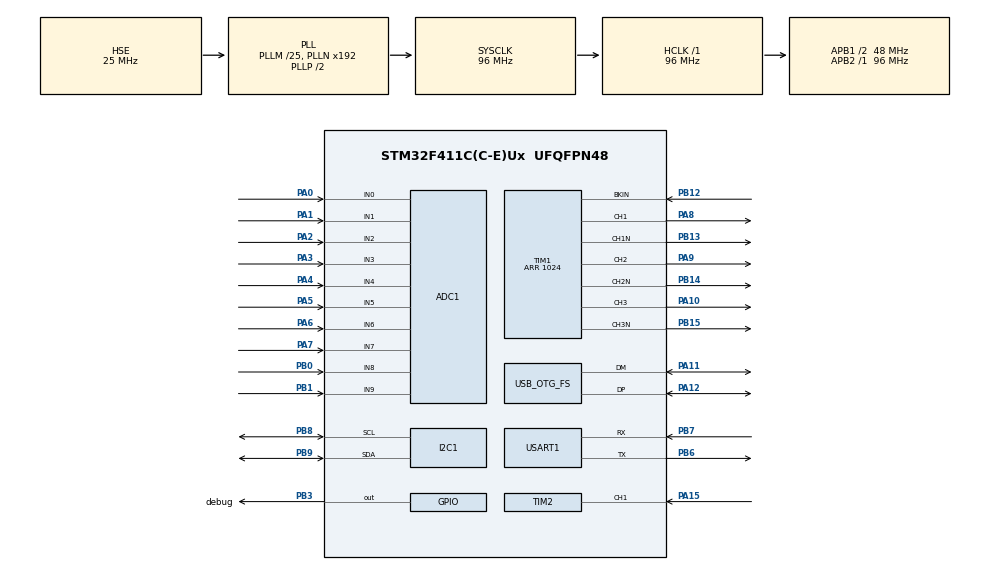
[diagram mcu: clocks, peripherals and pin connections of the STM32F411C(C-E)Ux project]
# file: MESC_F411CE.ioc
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ADC1.Channel-0\#ChannelRegularConversion=ADC_CHANNEL_5
ADC1.Channel-1\#ChannelRegularConversion=ADC_CHANNEL_6
ADC1.Channel-2\#ChannelRegularConversion=ADC_CHANNEL_8
ADC1.Channel-3\#ChannelRegularConversion=ADC_CHANNEL_0
ADC1.Channel-4\#ChannelRegularConversion=ADC_CHANNEL_8
ADC1.Channel-5\#ChannelRegularConversion=ADC_CHANNEL_9
ADC1.Channel-6\#ChannelInjectedConversion=ADC_CHANNEL_2
ADC1.Channel-7\#ChannelInjectedConversion=ADC_CHANNEL_3
ADC1.Channel-8\#ChannelInjectedConversion=ADC_CHANNEL_4
ADC1.Channel-9\#ChannelInjectedConversion=ADC_CHANNEL_1
ADC1.DMAContinuousRequests=ENABLE
ADC1.EnableAnalogWatchDog=true
ADC1.ExternalTrigInjecConv=ADC_EXTERNALTRIGINJECCONV_T1_TRGO
ADC1.ExternalTrigInjecConvEdge=ADC_EXTERNALTRIGINJECCONVEDGE_RISING
ADC1.HighThreshold=4048
ADC1.ITMode=ENABLE
ADC1.InjNumberOfConversion=4
ADC1.InjectedOffset-6\#ChannelInjectedConversion=0
ADC1.InjectedOffset-7\#ChannelInjectedConversion=0
ADC1.InjectedOffset-8\#ChannelInjectedConversion=0
ADC1.InjectedOffset-9\#ChannelInjectedConversion=0
ADC1.InjectedRank-6\#ChannelInjectedConversion=1
ADC1.InjectedRank-7\#ChannelInjectedConversion=2
ADC1.InjectedRank-8\#ChannelInjectedConversion=3
ADC1.InjectedRank-9\#ChannelInjectedConversion=4
ADC1.LowThreshold=48
ADC1.NbrOfConversion=6
ADC1.NbrOfConversionFlag=1
ADC1.Rank-0\#ChannelRegularConversion=1
ADC1.Rank-1\#ChannelRegularConversion=2
ADC1.Rank-2\#ChannelRegularConversion=3
ADC1.Rank-3\#ChannelRegularConversion=4
ADC1.Rank-4\#ChannelRegularConversion=5
ADC1.Rank-5\#ChannelRegularConversion=6
ADC1.SamplingTime-0\#ChannelRegularConversion=ADC_SAMPLETIME_15CYCLES
ADC1.SamplingTime-1\#ChannelRegularConversion=ADC_SAMPLETIME_15CYCLES
ADC1.SamplingTime-2\#ChannelRegularConversion=ADC_SAMPLETIME_15CYCLES
ADC1.SamplingTime-3\#ChannelRegularConversion=ADC_SAMPLETIME_15CYCLES
ADC1.SamplingTime-4\#ChannelRegularConversion=ADC_SAMPLETIME_15CYCLES
ADC1.SamplingTime-5\#ChannelRegularConversion=ADC_SAMPLETIME_15CYCLES
ADC1.SamplingTime-6\#ChannelInjectedConversion=ADC_SAMPLETIME_3CYCLES
ADC1.SamplingTime-7\#ChannelInjectedConversion=ADC_SAMPLETIME_3CYCLES
ADC1.SamplingTime-8\#ChannelInjectedConversion=ADC_SAMPLETIME_3CYCLES
ADC1.SamplingTime-9\#ChannelInjectedConversion=ADC_SAMPLETIME_15CYCLES
ADC1.ScanConvMode=ENABLE
ADC1.WatchdogMode=ADC_ANALOGWATCHDOG_ALL_INJEC
ADC1.master=1
Dma.ADC1.0.Direction=DMA_PERIPH_TO_MEMORY
Dma.ADC1.0.FIFOMode=DMA_FIFOMODE_DISABLE
Dma.ADC1.0.Instance=DMA2_Stream0
Dma.ADC1.0.MemDataAlignment=DMA_MDATAALIGN_WORD
Dma.ADC1.0.MemInc=DMA_MINC_ENABLE
Dma.ADC1.0.Mode=DMA_CIRCULAR
Dma.ADC1.0.PeriphDataAlignment=DMA_PDATAALIGN_WORD
Dma.ADC1.0.PeriphInc=DMA_PINC_DISABLE
Dma.ADC1.0.Priority=DMA_PRIORITY_LOW
Dma.Request0=ADC1
Dma.Request1=USART1_RX
Dma.Request2=USART1_TX
Dma.USART1_RX.1.Direction=DMA_PERIPH_TO_MEMORY
Dma.USART1_RX.1.FIFOMode=DMA_FIFOMODE_DISABLE
Dma.USART1_RX.1.Instance=DMA2_Stream2
Dma.USART1_RX.1.MemDataAlignment=DMA_MDATAALIGN_BYTE
Dma.USART1_RX.1.MemInc=DMA_MINC_ENABLE
Dma.USART1_RX.1.Mode=DMA_CIRCULAR
Dma.USART1_RX.1.PeriphDataAlignment=DMA_PDATAALIGN_BYTE
Dma.USART1_RX.1.PeriphInc=DMA_PINC_DISABLE
Dma.USART1_RX.1.Priority=DMA_PRIORITY_LOW
Dma.USART1_TX.2.Direction=DMA_MEMORY_TO_PERIPH
Dma.USART1_TX.2.FIFOMode=DMA_FIFOMODE_DISABLE
Dma.USART1_TX.2.Instance=DMA2_Stream7
Dma.USART1_TX.2.MemDataAlignment=DMA_MDATAALIGN_BYTE
Dma.USART1_TX.2.MemInc=DMA_MINC_ENABLE
Dma.USART1_TX.2.Mode=DMA_NORMAL
Dma.USART1_TX.2.PeriphDataAlignment=DMA_PDATAALIGN_BYTE
Dma.USART1_TX.2.PeriphInc=DMA_PINC_DISABLE
Dma.USART1_TX.2.Priority=DMA_PRIORITY_LOW
FREERTOS.Tasks01=defaultTask,24,256,StartDefaultTask,Default,NULL,Dynamic,NULL,NULL
FREERTOS.configENABLE_FPU=1
FREERTOS.configRECORD_STACK_HIGH_ADDRESS=1
FREERTOS.configTOTAL_HEAP_SIZE=64000
FREERTOS.configUSE_NEWLIB_REENTRANT=1
Mcu.Family=STM32F4
Mcu.Name=STM32F411C(C-E)Ux
Mcu.Package=UFQFPN48
NVIC.ADC_IRQn=true\:2\:0\:true\:false\:true\:false\:true\:false\:true
NVIC.DMA2_Stream2_IRQn=true\:5\:0\:false\:false\:true\:true\:true\:true\:true
NVIC.DMA2_Stream7_IRQn=true\:5\:0\:false\:false\:true\:true\:true\:true\:true
NVIC.OTG_FS_IRQn=true\:5\:0\:false\:false\:true\:true\:true\:true\:true
NVIC.PriorityGroup=NVIC_PRIORITYGROUP_4
NVIC.TIM1_BRK_TIM9_IRQn=true\:15\:0\:false\:false\:true\:false\:false\:true\:true
NVIC.TIM1_UP_TIM10_IRQn=true\:1\:0\:true\:false\:true\:false\:true\:false\:true
NVIC.TIM2_IRQn=true\:3\:0\:true\:false\:true\:false\:true\:true\:true
NVIC.TimeBase=TIM1_BRK_TIM9_IRQn
NVIC.TimeBaseIP=TIM9
NVIC.USART1_IRQn=true\:5\:0\:false\:false\:true\:true\:true\:true\:true
PA0-WKUP.Signal=ADCx_IN0
PA1.Signal=ADCx_IN1
PA10.Signal=S_TIM1_CH3
PA11.Mode=Device_Only
PA11.Signal=USB_OTG_FS_DM
PA12.Mode=Device_Only
PA12.Signal=USB_OTG_FS_DP
PA13.Mode=Serial_Wire
PA13.Signal=SYS_JTMS-SWDIO
PA14.Mode=Serial_Wire
PA14.Signal=SYS_JTCK-SWCLK
PA15.Signal=S_TIM2_CH1_ETR
PA2.Signal=ADCx_IN2
PA3.Signal=ADCx_IN3
PA4.Signal=ADCx_IN4
PA5.Signal=ADCx_IN5
PA6.Signal=ADCx_IN6
PA7.Signal=ADCx_IN7
PA8.Signal=S_TIM1_CH1
PA9.Signal=S_TIM1_CH2
PB0.Signal=ADCx_IN8
PB1.Signal=ADCx_IN9
PB12.Mode=Activate-Break-Input
PB12.Signal=TIM1_BKIN
PB13.Mode=PWM Generation1 CH1 CH1N
PB13.Signal=TIM1_CH1N
PB14.Mode=PWM Generation2 CH2 CH2N
PB14.Signal=TIM1_CH2N
PB15.Mode=PWM Generation3 CH3 CH3N
PB15.Signal=TIM1_CH3N
PB3.GPIO_Label=debug
PB3.GPIO_Speed=GPIO_SPEED_FREQ_VERY_HIGH
PB3.PinState=GPIO_PIN_SET
PB3.Signal=GPIO_Output
PB6.Mode=Asynchronous
PB6.Signal=USART1_TX
PB7.Mode=Asynchronous
PB7.Signal=USART1_RX
PB8.Mode=I2C
PB8.Signal=I2C1_SCL
PB9.Mode=I2C
PB9.Signal=I2C1_SDA
PH0\ -\ OSC_IN.Mode=HSE-External-Oscillator
PH0\ -\ OSC_IN.Signal=RCC_OSC_IN
PH1\ -\ OSC_OUT.Mode=HSE-External-Oscillator
PH1\ -\ OSC_OUT.Signal=RCC_OSC_OUT
ProjectManager.HeapSize=0x200
ProjectManager.StackSize=0x400
ProjectManager.TargetToolchain=STM32CubeIDE
RCC.48MHZClocksFreq_Value=48000000
RCC.AHBFreq_Value=96000000
RCC.APB1CLKDivider=RCC_HCLK_DIV2
RCC.APB1Freq_Value=48000000
RCC.APB1TimFreq_Value=96000000
RCC.APB2Freq_Value=96000000
RCC.APB2TimFreq_Value=96000000
RCC.CortexFreq_Value=96000000
RCC.HCLKFreq_Value=96000000
RCC.HSE_VALUE=25000000
RCC.HSI_VALUE=16000000
RCC.LSE_VALUE=32768
RCC.PLLM=25
RCC.PWR_Regulator_Voltage_Scale=PWR_REGULATOR_VOLTAGE_SCALE1
RCC.SYSCLKFreq_VALUE=96000000
RCC.SYSCLKSource=RCC_SYSCLKSOURCE_PLLCLK
RCC.VCOOutputFreq_Value=192000000
SH.ADCx_IN0.0=ADC1_IN0,IN0
SH.ADCx_IN1.0=ADC1_IN1,IN1
SH.ADCx_IN2.0=ADC1_IN2,IN2
SH.ADCx_IN3.0=ADC1_IN3,IN3
SH.ADCx_IN4.0=ADC1_IN4,IN4
SH.ADCx_IN5.0=ADC1_IN5,IN5
SH.ADCx_IN6.0=ADC1_IN6,IN6
SH.ADCx_IN7.0=ADC1_IN7,IN7
SH.ADCx_IN8.0=ADC1_IN8,IN8
SH.ADCx_IN9.0=ADC1_IN9,IN9
SH.S_TIM1_CH1.0=TIM1_CH1,PWM Generation1 CH1 CH1N
SH.S_TIM1_CH2.0=TIM1_CH2,PWM Generation2 CH2 CH2N
SH.S_TIM1_CH3.0=TIM1_CH3,PWM Generation3 CH3 CH3N
SH.S_TIM2_CH1_ETR.0=TIM2_CH1,TriggerSource_TI1FP1
SH.S_TIM2_CH1_ETR.1=TIM2_CH1,Input_Capture1_from_TI1
TIM1.BreakPolarity=TIM_BREAKPOLARITY_LOW
TIM1.Channel-PWM\ Generation1\ CH1\ CH1N=TIM_CHANNEL_1
TIM1.Channel-PWM\ Generation2\ CH2\ CH2N=TIM_CHANNEL_2
TIM1.Channel-PWM\ Generation3\ CH3\ CH3N=TIM_CHANNEL_3
TIM1.Channel-PWM\ Generation4\ No\ Output=TIM_CHANNEL_4
TIM1.CounterMode=TIM_COUNTERMODE_CENTERALIGNED1
TIM1.DeadTime=80
TIM1.Period=1024
TIM1.Pulse-PWM\ Generation1\ CH1\ CH1N=512
TIM1.Pulse-PWM\ Generation2\ CH2\ CH2N=512
TIM1.Pulse-PWM\ Generation3\ CH3\ CH3N=512
TIM1.Pulse-PWM\ Generation4\ No\ Output=1023
TIM1.TIM_MasterOutputTrigger=TIM_TRGO_OC4REF
TIM2.Channel-Input_Capture1_from_TI1=TIM_CHANNEL_1
TIM2.Channel-Input_Capture2_from_TI1_63=TIM_CHANNEL_2
TIM2.ICPolarity_CH2=TIM_INPUTCHANNELPOLARITY_FALLING
TIM2.Period=50000
TIM2.Prescaler=83
USART1.VirtualMode=VM_ASYNC
USB_DEVICE.CLASS_NAME_FS=CDC
USB_DEVICE.VirtualMode=Cdc
USB_DEVICE.VirtualModeFS=Cdc_FS
USB_OTG_FS.VirtualMode=Device_Only
VP_FREERTOS_VS_CMSIS_V2.Mode=CMSIS_V2
VP_SYS_VS_tim9.Mode=TIM9
VP_TIM10_VS_ClockSourceINT.Mode=Enable_Timer
VP_TIM1_VS_no_output4.Mode=PWM Generation4 No Output
VP_TIM2_VS_ControllerModeReset.Mode=Reset Mode
VP_TIM2_VS_indirect_ch1.Mode=Input_Capture2_from_TI1_63
VP_USB_DEVICE_VS_USB_DEVICE_CDC_FS.Mode=CDC_FS
board=custom

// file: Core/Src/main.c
/* USER CODE BEGIN Header */
/**
  ******************************************************************************
  * @file           : main.c
  * @brief          : Main program body
  ******************************************************************************
  * @attention
  *
  * Copyright (c) 2022 STMicroelectronics.
  * All rights reserved.
  *
  * This software is licensed under terms that can be found in the LICENSE file
  * in the root directory of this software component.
  * If no LICENSE file comes with this software, it is provided AS-IS.
  *
  ******************************************************************************
  */
/* USER CODE END Header */
#include "main.h"
#include "cmsis_os.h"
#include "usb_device.h"

/* USER CODE BEGIN Includes */
#include "MESCmotor.h"
#include "MESCfoc.h"

#include "Tasks/init.h"
/* USER CODE END Includes */

ADC_HandleTypeDef hadc1;
DMA_HandleTypeDef hdma_adc1;

I2C_HandleTypeDef hi2c1;

TIM_HandleTypeDef htim1;
TIM_HandleTypeDef htim2;
TIM_HandleTypeDef htim10;

UART_HandleTypeDef huart1;
DMA_HandleTypeDef hdma_usart1_rx;
DMA_HandleTypeDef hdma_usart1_tx;

/* Definitions for defaultTask */
osThreadId_t defaultTaskHandle;
const osThreadAttr_t defaultTask_attributes = {
  .name = "defaultTask",
  .stack_size = 256 * 4,
  .priority = (osPriority_t) osPriorityNormal,
};

void SystemClock_Config(void);
static void MX_GPIO_Init(void);
static void MX_DMA_Init(void);
static void MX_ADC1_Init(void);
static void MX_TIM1_Init(void);
static void MX_TIM2_Init(void);
static void MX_TIM10_Init(void);
static void MX_USART1_UART_Init(void);
static void MX_I2C1_Init(void);
void StartDefaultTask(void *argument);

int main(void)
{

  /* MCU Configuration--------------------------------------------------------*/

  /* Reset of all peripherals, Initializes the Flash interface and the Systick. */
  HAL_Init();

  /* Configure the system clock */
  SystemClock_Config();

  /* Initialize all configured peripherals */
  MX_GPIO_Init();
  MX_DMA_Init();
  MX_ADC1_Init();
  MX_TIM1_Init();
  MX_TIM2_Init();
  MX_TIM10_Init();
  MX_USART1_UART_Init();
  MX_I2C1_Init();
  /* USER CODE BEGIN 2 */

#ifdef USE_ENCODER
  HAL_SPI_Init(&hspi3);
  GPIO_InitTypeDef GPIO_InitStruct = {0};
  /*Configure GPIO pins : PC6 PC7 PC8 */
    GPIO_InitStruct.Pin = GPIO_PIN_8;
    GPIO_InitStruct.Mode = GPIO_MODE_OUTPUT_PP;
    GPIO_InitStruct.Pull = GPIO_NOPULL;
    HAL_GPIO_Init(GPIOB, &GPIO_InitStruct);
#endif
  //Set motor timer
    mtr[0].mtimer = &htim1;
    mtr[0].stimer = &htim2;
motor_init(NULL);
	//Initialise MESC
	motor_init(&mtr[0]);
	MESCfoc_Init(&mtr[0]);
	//motor.Rphase = motor_profile->R;
	//motor.Lphase = motor_profile->L_D;
	//motor.Lqphase = motor_profile->L_Q;
	//motor.motor_flux = motor_profile->flux_linkage;
	//motor_profile->Pmax = 50.0f;
	motor.uncertainty = 1;

	HAL_TIM_PWM_Start_IT(&htim2, TIM_CHANNEL_1);

	calculateGains(&mtr[0]);
	calculateVoltageGain(&mtr[0]);

  /* USER CODE END 2 */

  /* Init scheduler */
  osKernelInitialize();

  /* Create the thread(s) */
  /* creation of defaultTask */
  defaultTaskHandle = osThreadNew(StartDefaultTask, NULL, &defaultTask_attributes);

  /* USER CODE BEGIN RTOS_THREADS */
  /* add threads, ... */

  init_system();
  /* USER CODE END RTOS_THREADS */

  /* Start scheduler */
  osKernelStart();

  /* We should never get here as control is now taken by the scheduler */
  /* Infinite loop */
  while (1)
  {

  }
}

void SystemClock_Config(void)
{
  RCC_OscInitTypeDef RCC_OscInitStruct = {0};
  RCC_ClkInitTypeDef RCC_ClkInitStruct = {0};

  /** Configure the main internal regulator output voltage
  */
  __HAL_RCC_PWR_CLK_ENABLE();
  __HAL_PWR_VOLTAGESCALING_CONFIG(PWR_REGULATOR_VOLTAGE_SCALE1);

  /** Initializes the RCC Oscillators according to the specified parameters
  * in the RCC_OscInitTypeDef structure.
  */
  RCC_OscInitStruct.OscillatorType = RCC_OSCILLATORTYPE_HSE;
  RCC_OscInitStruct.HSEState = RCC_HSE_ON;
  RCC_OscInitStruct.PLL.PLLState = RCC_PLL_ON;
  RCC_OscInitStruct.PLL.PLLSource = RCC_PLLSOURCE_HSE;
  RCC_OscInitStruct.PLL.PLLM = 25;
  RCC_OscInitStruct.PLL.PLLN = 192;
  RCC_OscInitStruct.PLL.PLLP = RCC_PLLP_DIV2;
  RCC_OscInitStruct.PLL.PLLQ = 4;
  if (HAL_RCC_OscConfig(&RCC_OscInitStruct) != HAL_OK)
  {
    Error_Handler();
  }

  /** Initializes the CPU, AHB and APB buses clocks
  */
  RCC_ClkInitStruct.ClockType = RCC_CLOCKTYPE_HCLK|RCC_CLOCKTYPE_SYSCLK
                              |RCC_CLOCKTYPE_PCLK1|RCC_CLOCKTYPE_PCLK2;
  RCC_ClkInitStruct.SYSCLKSource = RCC_SYSCLKSOURCE_PLLCLK;
  RCC_ClkInitStruct.AHBCLKDivider = RCC_SYSCLK_DIV1;
  RCC_ClkInitStruct.APB1CLKDivider = RCC_HCLK_DIV2;
  RCC_ClkInitStruct.APB2CLKDivider = RCC_HCLK_DIV1;

  if (HAL_RCC_ClockConfig(&RCC_ClkInitStruct, FLASH_LATENCY_3) != HAL_OK)
  {
    Error_Handler();
  }
}

static void MX_ADC1_Init(void)
{

  ADC_AnalogWDGConfTypeDef AnalogWDGConfig = {0};
  ADC_ChannelConfTypeDef sConfig = {0};
  ADC_InjectionConfTypeDef sConfigInjected = {0};

  /** Configure the global features of the ADC (Clock, Resolution, Data Alignment and number of conversion)
  */
  hadc1.Instance = ADC1;
  hadc1.Init.ClockPrescaler = ADC_CLOCK_SYNC_PCLK_DIV4;
  hadc1.Init.Resolution = ADC_RESOLUTION_12B;
  hadc1.Init.ScanConvMode = ENABLE;
  hadc1.Init.ContinuousConvMode = DISABLE;
  hadc1.Init.DiscontinuousConvMode = DISABLE;
  hadc1.Init.ExternalTrigConvEdge = ADC_EXTERNALTRIGCONVEDGE_NONE;
  hadc1.Init.ExternalTrigConv = ADC_SOFTWARE_START;
  hadc1.Init.DataAlign = ADC_DATAALIGN_RIGHT;
  hadc1.Init.NbrOfConversion = 6;
  hadc1.Init.DMAContinuousRequests = ENABLE;
  hadc1.Init.EOCSelection = ADC_EOC_SINGLE_CONV;
  if (HAL_ADC_Init(&hadc1) != HAL_OK)
  {
    Error_Handler();
  }

  /** Configure the analog watchdog
  */
  AnalogWDGConfig.WatchdogMode = ADC_ANALOGWATCHDOG_ALL_INJEC;
  AnalogWDGConfig.HighThreshold = 4048;
  AnalogWDGConfig.LowThreshold = 48;
  AnalogWDGConfig.ITMode = ENABLE;
  if (HAL_ADC_AnalogWDGConfig(&hadc1, &AnalogWDGConfig) != HAL_OK)
  {
    Error_Handler();
  }

  /** Configure for the selected ADC regular channel its corresponding rank in the sequencer and its sample time.
  */
  sConfig.Channel = ADC_CHANNEL_5;
  sConfig.Rank = 1;
  sConfig.SamplingTime = ADC_SAMPLETIME_15CYCLES;
  if (HAL_ADC_ConfigChannel(&hadc1, &sConfig) != HAL_OK)
  {
    Error_Handler();
  }

  /** Configure for the selected ADC regular channel its corresponding rank in the sequencer and its sample time.
  */
  sConfig.Channel = ADC_CHANNEL_6;
  sConfig.Rank = 2;
  if (HAL_ADC_ConfigChannel(&hadc1, &sConfig) != HAL_OK)
  {
    Error_Handler();
  }

  /** Configure for the selected ADC regular channel its corresponding rank in the sequencer and its sample time.
  */
  sConfig.Channel = ADC_CHANNEL_8;
  sConfig.Rank = 3;
  if (HAL_ADC_ConfigChannel(&hadc1, &sConfig) != HAL_OK)
  {
    Error_Handler();
  }

  /** Configure for the selected ADC regular channel its corresponding rank in the sequencer and its sample time.
  */
  sConfig.Channel = ADC_CHANNEL_0;
  sConfig.Rank = 4;
  if (HAL_ADC_ConfigChannel(&hadc1, &sConfig) != HAL_OK)
  {
    Error_Handler();
  }

  /** Configure for the selected ADC regular channel its corresponding rank in the sequencer and its sample time.
  */
  sConfig.Channel = ADC_CHANNEL_8;
  sConfig.Rank = 5;
  if (HAL_ADC_ConfigChannel(&hadc1, &sConfig) != HAL_OK)
  {
    Error_Handler();
  }

  /** Configure for the selected ADC regular channel its corresponding rank in the sequencer and its sample time.
  */
  sConfig.Channel = ADC_CHANNEL_9;
  sConfig.Rank = 6;
  if (HAL_ADC_ConfigChannel(&hadc1, &sConfig) != HAL_OK)
  {
    Error_Handler();
  }

  /** Configures for the selected ADC injected channel its corresponding rank in the sequencer and its sample time
  */
  sConfigInjected.InjectedChannel = ADC_CHANNEL_2;
  sConfigInjected.InjectedRank = 1;
  sConfigInjected.InjectedNbrOfConversion = 4;
  sConfigInjected.InjectedSamplingTime = ADC_SAMPLETIME_3CYCLES;
  sConfigInjected.ExternalTrigInjecConvEdge = ADC_EXTERNALTRIGINJECCONVEDGE_RISING;
  sConfigInjected.ExternalTrigInjecConv = ADC_EXTERNALTRIGINJECCONV_T1_TRGO;
  sConfigInjected.AutoInjectedConv = DISABLE;
  sConfigInjected.InjectedDiscontinuousConvMode = DISABLE;
  sConfigInjected.InjectedOffset = 0;
  if (HAL_ADCEx_InjectedConfigChannel(&hadc1, &sConfigInjected) != HAL_OK)
  {
    Error_Handler();
  }

  /** Configures for the selected ADC injected channel its corresponding rank in the sequencer and its sample time
  */
  sConfigInjected.InjectedChannel = ADC_CHANNEL_3;
  sConfigInjected.InjectedRank = 2;
  if (HAL_ADCEx_InjectedConfigChannel(&hadc1, &sConfigInjected) != HAL_OK)
  {
    Error_Handler();
  }

  /** Configures for the selected ADC injected channel its corresponding rank in the sequencer and its sample time
  */
  sConfigInjected.InjectedChannel = ADC_CHANNEL_4;
  sConfigInjected.InjectedRank = 3;
  if (HAL_ADCEx_InjectedConfigChannel(&hadc1, &sConfigInjected) != HAL_OK)
  {
    Error_Handler();
  }

  /** Configures for the selected ADC injected channel its corresponding rank in the sequencer and its sample time
  */
  sConfigInjected.InjectedChannel = ADC_CHANNEL_1;
  sConfigInjected.InjectedRank = 4;
  sConfigInjected.InjectedSamplingTime = ADC_SAMPLETIME_15CYCLES;
  if (HAL_ADCEx_InjectedConfigChannel(&hadc1, &sConfigInjected) != HAL_OK)
  {
    Error_Handler();
  }

}

static void MX_I2C1_Init(void)
{

  hi2c1.Instance = I2C1;
  hi2c1.Init.ClockSpeed = 100000;
  hi2c1.Init.DutyCycle = I2C_DUTYCYCLE_2;
  hi2c1.Init.OwnAddress1 = 0;
  hi2c1.Init.AddressingMode = I2C_ADDRESSINGMODE_7BIT;
  hi2c1.Init.DualAddressMode = I2C_DUALADDRESS_DISABLE;
  hi2c1.Init.OwnAddress2 = 0;
  hi2c1.Init.GeneralCallMode = I2C_GENERALCALL_DISABLE;
  hi2c1.Init.NoStretchMode = I2C_NOSTRETCH_DISABLE;
  if (HAL_I2C_Init(&hi2c1) != HAL_OK)
  {
    Error_Handler();
  }

}

static void MX_TIM1_Init(void)
{

  TIM_MasterConfigTypeDef sMasterConfig = {0};
  TIM_OC_InitTypeDef sConfigOC = {0};
  TIM_BreakDeadTimeConfigTypeDef sBreakDeadTimeConfig = {0};

  htim1.Instance = TIM1;
  htim1.Init.Prescaler = 0;
  htim1.Init.CounterMode = TIM_COUNTERMODE_CENTERALIGNED1;
  htim1.Init.Period = 1024;
  htim1.Init.ClockDivision = TIM_CLOCKDIVISION_DIV1;
  htim1.Init.RepetitionCounter = 0;
  htim1.Init.AutoReloadPreload = TIM_AUTORELOAD_PRELOAD_DISABLE;
  if (HAL_TIM_PWM_Init(&htim1) != HAL_OK)
  {
    Error_Handler();
  }
  sMasterConfig.MasterOutputTrigger = TIM_TRGO_OC4REF;
  sMasterConfig.MasterSlaveMode = TIM_MASTERSLAVEMODE_DISABLE;
  if (HAL_TIMEx_MasterConfigSynchronization(&htim1, &sMasterConfig) != HAL_OK)
  {
    Error_Handler();
  }
  sConfigOC.OCMode = TIM_OCMODE_PWM1;
  sConfigOC.Pulse = 512;
  sConfigOC.OCPolarity = TIM_OCPOLARITY_HIGH;
  sConfigOC.OCNPolarity = TIM_OCNPOLARITY_HIGH;
  sConfigOC.OCFastMode = TIM_OCFAST_DISABLE;
  sConfigOC.OCIdleState = TIM_OCIDLESTATE_RESET;
  sConfigOC.OCNIdleState = TIM_OCNIDLESTATE_RESET;
  if (HAL_TIM_PWM_ConfigChannel(&htim1, &sConfigOC, TIM_CHANNEL_1) != HAL_OK)
  {
    Error_Handler();
  }
  if (HAL_TIM_PWM_ConfigChannel(&htim1, &sConfigOC, TIM_CHANNEL_2) != HAL_OK)
  {
    Error_Handler();
  }
  if (HAL_TIM_PWM_ConfigChannel(&htim1, &sConfigOC, TIM_CHANNEL_3) != HAL_OK)
  {
    Error_Handler();
  }
  sConfigOC.Pulse = 1023;
  if (HAL_TIM_PWM_ConfigChannel(&htim1, &sConfigOC, TIM_CHANNEL_4) != HAL_OK)
  {
    Error_Handler();
  }
  sBreakDeadTimeConfig.OffStateRunMode = TIM_OSSR_DISABLE;
  sBreakDeadTimeConfig.OffStateIDLEMode = TIM_OSSI_DISABLE;
  sBreakDeadTimeConfig.LockLevel = TIM_LOCKLEVEL_OFF;
  sBreakDeadTimeConfig.DeadTime = 80;
  sBreakDeadTimeConfig.BreakState = TIM_BREAK_ENABLE;
  sBreakDeadTimeConfig.BreakPolarity = TIM_BREAKPOLARITY_LOW;
  sBreakDeadTimeConfig.AutomaticOutput = TIM_AUTOMATICOUTPUT_DISABLE;
  if (HAL_TIMEx_ConfigBreakDeadTime(&htim1, &sBreakDeadTimeConfig) != HAL_OK)
  {
    Error_Handler();
  }
  HAL_TIM_MspPostInit(&htim1);

}

static void MX_TIM2_Init(void)
{

  TIM_SlaveConfigTypeDef sSlaveConfig = {0};
  TIM_MasterConfigTypeDef sMasterConfig = {0};
  TIM_IC_InitTypeDef sConfigIC = {0};

  htim2.Instance = TIM2;
  htim2.Init.Prescaler = 83;
  htim2.Init.CounterMode = TIM_COUNTERMODE_UP;
  htim2.Init.Period = 50000;
  htim2.Init.ClockDivision = TIM_CLOCKDIVISION_DIV1;
  htim2.Init.AutoReloadPreload = TIM_AUTORELOAD_PRELOAD_DISABLE;
  if (HAL_TIM_Base_Init(&htim2) != HAL_OK)
  {
    Error_Handler();
  }
  if (HAL_TIM_IC_Init(&htim2) != HAL_OK)
  {
    Error_Handler();
  }
  sSlaveConfig.SlaveMode = TIM_SLAVEMODE_RESET;
  sSlaveConfig.InputTrigger = TIM_TS_TI1FP1;
  sSlaveConfig.TriggerPolarity = TIM_INPUTCHANNELPOLARITY_RISING;
  sSlaveConfig.TriggerFilter = 0;
  if (HAL_TIM_SlaveConfigSynchro(&htim2, &sSlaveConfig) != HAL_OK)
  {
    Error_Handler();
  }
  sMasterConfig.MasterOutputTrigger = TIM_TRGO_RESET;
  sMasterConfig.MasterSlaveMode = TIM_MASTERSLAVEMODE_DISABLE;
  if (HAL_TIMEx_MasterConfigSynchronization(&htim2, &sMasterConfig) != HAL_OK)
  {
    Error_Handler();
  }
  sConfigIC.ICPolarity = TIM_INPUTCHANNELPOLARITY_RISING;
  sConfigIC.ICSelection = TIM_ICSELECTION_DIRECTTI;
  sConfigIC.ICPrescaler = TIM_ICPSC_DIV1;
  sConfigIC.ICFilter = 0;
  if (HAL_TIM_IC_ConfigChannel(&htim2, &sConfigIC, TIM_CHANNEL_1) != HAL_OK)
  {
    Error_Handler();
  }
  sConfigIC.ICPolarity = TIM_INPUTCHANNELPOLARITY_FALLING;
  sConfigIC.ICSelection = TIM_ICSELECTION_INDIRECTTI;
  if (HAL_TIM_IC_ConfigChannel(&htim2, &sConfigIC, TIM_CHANNEL_2) != HAL_OK)
  {
    Error_Handler();
  }

}

static void MX_TIM10_Init(void)
{

  htim10.Instance = TIM10;
  htim10.Init.Prescaler = 0;
  htim10.Init.CounterMode = TIM_COUNTERMODE_UP;
  htim10.Init.Period = 65535;
  htim10.Init.ClockDivision = TIM_CLOCKDIVISION_DIV1;
  htim10.Init.AutoReloadPreload = TIM_AUTORELOAD_PRELOAD_DISABLE;
  if (HAL_TIM_Base_Init(&htim10) != HAL_OK)
  {
    Error_Handler();
  }

}

static void MX_USART1_UART_Init(void)
{

  huart1.Instance = USART1;
  huart1.Init.BaudRate = 115200;
  huart1.Init.WordLength = UART_WORDLENGTH_8B;
  huart1.Init.StopBits = UART_STOPBITS_1;
  huart1.Init.Parity = UART_PARITY_NONE;
  huart1.Init.Mode = UART_MODE_TX_RX;
  huart1.Init.HwFlowCtl = UART_HWCONTROL_NONE;
  huart1.Init.OverSampling = UART_OVERSAMPLING_16;
  if (HAL_UART_Init(&huart1) != HAL_OK)
  {
    Error_Handler();
  }

}

static void MX_DMA_Init(void)
{

  /* DMA controller clock enable */
  __HAL_RCC_DMA2_CLK_ENABLE();

  /* DMA interrupt init */
  /* DMA2_Stream2_IRQn interrupt configuration */
  HAL_NVIC_SetPriority(DMA2_Stream2_IRQn, 5, 0);
  HAL_NVIC_EnableIRQ(DMA2_Stream2_IRQn);
  /* DMA2_Stream7_IRQn interrupt configuration */
  HAL_NVIC_SetPriority(DMA2_Stream7_IRQn, 5, 0);
  HAL_NVIC_EnableIRQ(DMA2_Stream7_IRQn);

}

static void MX_GPIO_Init(void)
{
  GPIO_InitTypeDef GPIO_InitStruct = {0};

  /* GPIO Ports Clock Enable */
  __HAL_RCC_GPIOH_CLK_ENABLE();
  __HAL_RCC_GPIOA_CLK_ENABLE();
  __HAL_RCC_GPIOB_CLK_ENABLE();

  /*Configure GPIO pin Output Level */
  HAL_GPIO_WritePin(debug_GPIO_Port, debug_Pin, GPIO_PIN_SET);

  /*Configure GPIO pin : debug_Pin */
  GPIO_InitStruct.Pin = debug_Pin;
  GPIO_InitStruct.Mode = GPIO_MODE_OUTPUT_PP;
  GPIO_InitStruct.Pull = GPIO_NOPULL;
  GPIO_InitStruct.Speed = GPIO_SPEED_FREQ_VERY_HIGH;
  HAL_GPIO_Init(debug_GPIO_Port, &GPIO_InitStruct);

}

void StartDefaultTask(void *argument)
{
  /* init code for USB_DEVICE */
  MX_USB_DEVICE_Init();
  /* USER CODE BEGIN 5 */
  /* Infinite loop */
  for(;;)
  {
    osDelay(100);
  }
  /* USER CODE END 5 */
}

void HAL_TIM_PeriodElapsedCallback(TIM_HandleTypeDef *htim)
{
  if (htim->Instance == TIM9) {
    HAL_IncTick();
  }
}

void Error_Handler(void)
{
  __disable_irq();
  while (1)
  {
  }
}
